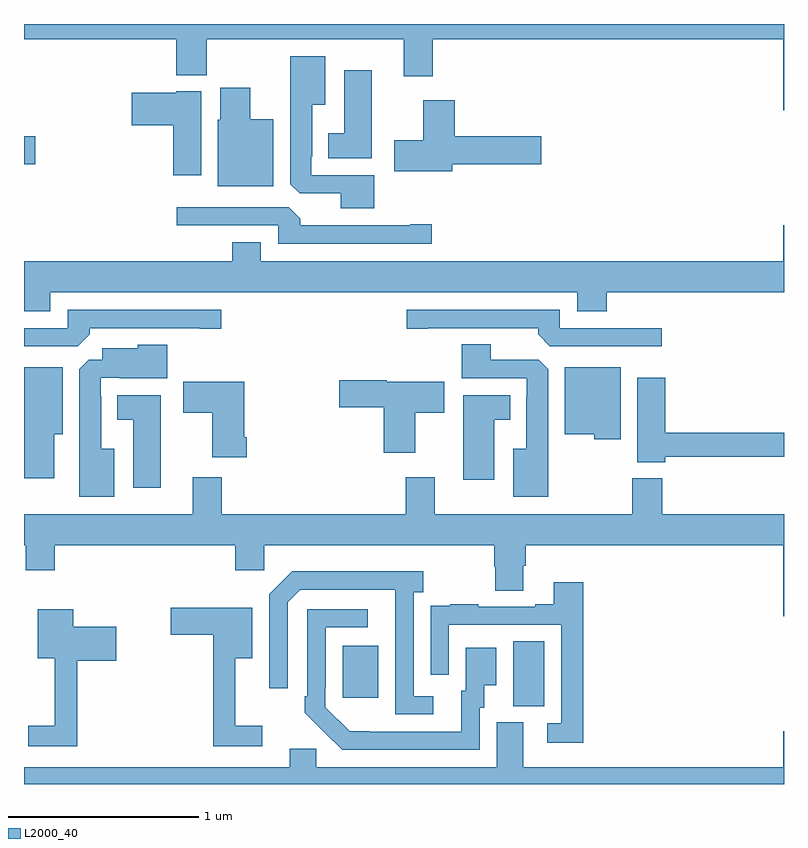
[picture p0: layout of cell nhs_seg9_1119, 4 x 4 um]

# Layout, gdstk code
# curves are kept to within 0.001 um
import gdstk
lib = gdstk.Library(unit=1e-6, precision=1e-09)
def R(c, l, rs):  # rectangles x0, y0, x1, y1
    for r in rs: c.add(gdstk.rectangle(r[:2], r[2:], *l))
def P(c, l, *ps):  # polygons
    for p in ps: c.add(gdstk.Polygon(p, *l))
L2000_40 = (2000, 40)

nhs_seg9_1119 = lib.new_cell('nhs_seg9_1119')
R(nhs_seg9_1119, L2000_40, [(175.574,1192.909,175.738,1193.252), (174.677,1192.953,174.865,1193.227), (173,1195.763,173.059,1195.91)])
P(nhs_seg9_1119, L2000_40, [(177,1196.5),(173,1196.5),(173,1196.42),(173.801,1196.42),(173.801,1196.231),(173.961,1196.231),(173.961,1196.42),(174.998,1196.42),(174.998,1196.226),(175.151,1196.226),(175.151,1196.42),(176.996,1196.42),(176.996,1196.046),(177,1196.046)],
  [(174.844,1195.704),(174.513,1195.704),(174.513,1195.801),(174.517,1195.801),(174.517,1196.075),(174.586,1196.075),(174.586,1196.329),(174.401,1196.329),(174.401,1195.657),(174.45,1195.608),(174.668,1195.608),(174.668,1195.529),(174.844,1195.529)],
  [(174.829,1196.257),(174.686,1196.257),(174.686,1195.924),(174.602,1195.924),(174.602,1195.793),(174.829,1195.793)],
  [(174.313,1195.999),(174.19,1195.999),(174.19,1196.164),(174.032,1196.164),(174.032,1195.995),(174.02,1195.995),(174.02,1195.646),(174.313,1195.646)],
  [(173.932,1196.146),(173.802,1196.146),(173.802,1196.137),(173.568,1196.137),(173.568,1195.967),(173.786,1195.967),(173.786,1195.704),(173.932,1195.704)],
  [(175.255,1195.763),(175.723,1195.763),(175.723,1195.91),(175.268,1195.91),(175.268,1196.098),(175.1,1196.098),(175.1,1195.887),(174.948,1195.887),(174.948,1195.724),(175.255,1195.724)],
  [(175.147,1195.445),(175.034,1195.445),(175.034,1195.44),(174.455,1195.44),(174.455,1195.474),(174.393,1195.536),(173.805,1195.536),(173.805,1195.44),(174.339,1195.44),(174.339,1195.344),(175.147,1195.344)],
  [(173.137,1195.088),(175.913,1195.088),(175.913,1194.989),(176.066,1194.989),(176.066,1195.088),(177,1195.088),(177,1195.441),(176.996,1195.441),(176.996,1195.252),(174.247,1195.252),(174.247,1195.351),(174.095,1195.351),(174.095,1195.252),(173,1195.252),(173,1194.989),(173.137,1194.989)],
  [(176.356,1194.9),(175.821,1194.9),(175.821,1194.996),(175.014,1194.996),(175.014,1194.895),(175.126,1194.895),(175.126,1194.9),(175.706,1194.9),(175.706,1194.866),(175.767,1194.804),(176.356,1194.804)],
  [(173.345,1194.866),(173.345,1194.9),(173.924,1194.9),(173.924,1194.895),(174.037,1194.895),(174.037,1194.996),(173.229,1194.996),(173.229,1194.9),(173,1194.9),(173,1194.804),(173.283,1194.804)],
  [(175.759,1194.683),(175.71,1194.732),(175.456,1194.732),(175.456,1194.815),(175.304,1194.815),(175.304,1194.636),(175.647,1194.636),(175.647,1194.539),(175.643,1194.539),(175.643,1194.265),(175.574,1194.265),(175.574,1194.011),(175.759,1194.011)],
  [(173.476,1194.265),(173.407,1194.265),(173.407,1194.539),(173.403,1194.539),(173.403,1194.639),(173.503,1194.639),(173.503,1194.635),(173.755,1194.635),(173.755,1194.811),(173.598,1194.811),(173.598,1194.793),(173.411,1194.793),(173.411,1194.732),(173.34,1194.732),(173.291,1194.683),(173.291,1194.011),(173.476,1194.011)],
  [(176.14,1194.694),(175.847,1194.694),(175.847,1194.341),(176.001,1194.341),(176.001,1194.314),(176.14,1194.314)],
  [(173.158,1194.341),(173.203,1194.341),(173.203,1194.694),(173,1194.694),(173,1194.108),(173.158,1194.108)],
  [(176.375,1194.222),(177,1194.222),(177,1194.35),(176.375,1194.35),(176.375,1194.637),(176.228,1194.637),(176.228,1194.194),(176.375,1194.194)],
  [(175.06,1194.454),(175.213,1194.454),(175.213,1194.616),(174.909,1194.616),(174.909,1194.624),(174.66,1194.624),(174.66,1194.482),(174.893,1194.482),(174.893,1194.243),(175.06,1194.243)],
  [(174.173,1194.325),(174.16,1194.325),(174.16,1194.616),(173.838,1194.616),(173.838,1194.454),(173.99,1194.454),(173.99,1194.221),(174.173,1194.221)],
  [(175.474,1194.416),(175.558,1194.416),(175.558,1194.547),(175.313,1194.547),(175.313,1194.102),(175.474,1194.102)],
  [(173.719,1194.547),(173.492,1194.547),(173.492,1194.416),(173.576,1194.416),(173.576,1194.059),(173.719,1194.059)],
  [(177,1193.92),(176.36,1193.92),(176.36,1194.109),(176.2,1194.109),(176.2,1193.92),(175.162,1193.92),(175.162,1194.115),(175.01,1194.115),(175.01,1193.92),(174.041,1193.92),(174.041,1194.115),(173.888,1194.115),(173.888,1193.92),(173,1193.92),(173,1193.756),(173.01,1193.756),(173.01,1193.625),(173.162,1193.625),(173.162,1193.756),(174.113,1193.756),(174.113,1193.625),(174.264,1193.625),(174.264,1193.756),(175.475,1193.756),(175.475,1193.643),(175.48,1193.643),(175.48,1193.518),(175.627,1193.518),(175.627,1193.65),(175.64,1193.65),(175.64,1193.756),(176.996,1193.756),(176.996,1193.382),(177,1193.382)],
  [(175.153,1192.962),(175.05,1192.962),(175.05,1193.51),(175.102,1193.51),(175.102,1193.62),(174.412,1193.62),(174.291,1193.499),(174.291,1193.004),(174.387,1193.004),(174.387,1193.457),(174.453,1193.523),(174.953,1193.523),(174.954,1192.866),(175.153,1192.866)],
  [(175.943,1193.563),(175.787,1193.563),(175.787,1193.446),(175.691,1193.446),(175.691,1193.433),(175.391,1193.433),(175.391,1193.446),(175.243,1193.446),(175.243,1193.439),(175.141,1193.439),(175.141,1193.33),(175.14,1193.33),(175.14,1193.076),(175.236,1193.076),(175.236,1193.337),(175.827,1193.337),(175.827,1192.821),(175.755,1192.821),(175.755,1192.716),(175.943,1192.716)],
  [(174.253,1192.807),(174.113,1192.807),(174.113,1193.162),(174.202,1193.162),(174.202,1193.427),(173.772,1193.427),(173.772,1193.285),(173.995,1193.285),(173.995,1192.698),(174.253,1192.698)],
  [(175.398,1192.902),(175.423,1192.902),(175.423,1193.021),(175.486,1193.021),(175.486,1193.218),(175.325,1193.218),(175.325,1192.992),(175.301,1192.992),(175.301,1192.776),(174.714,1192.777),(174.585,1192.905),(174.585,1193.005),(174.588,1193.005),(174.588,1193.325),(174.808,1193.325),(174.808,1193.421),(174.492,1193.421),(174.492,1192.963),(174.477,1192.963),(174.477,1192.875),(174.674,1192.68),(175.398,1192.68)],
  [(173.279,1193.15),(173.485,1193.15),(173.485,1193.328),(173.26,1193.328),(173.26,1193.419),(173.072,1193.419),(173.072,1193.162),(173.162,1193.162),(173.162,1192.807),(173.022,1192.807),(173.022,1192.698),(173.279,1192.698)],
  [(177,1192.777),(176.996,1192.777),(176.996,1192.588),(175.627,1192.588),(175.627,1192.824),(175.487,1192.824),(175.487,1192.588),(174.537,1192.588),(174.537,1192.686),(174.398,1192.686),(174.398,1192.588),(173,1192.588),(173,1192.5),(177,1192.5)])

lib.write_gds('nhs_seg9_1119.gds')
